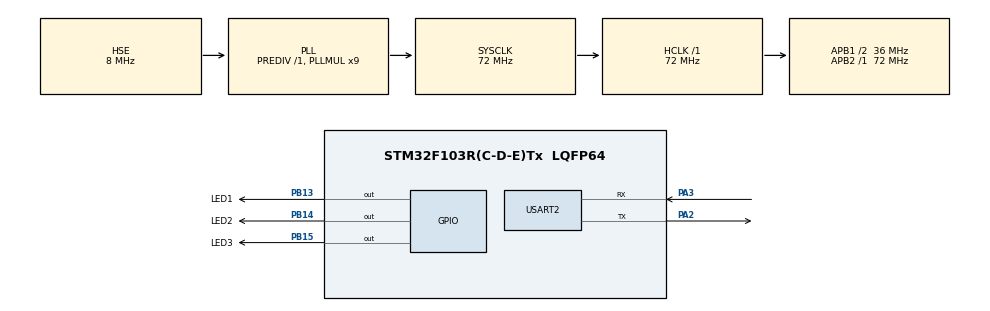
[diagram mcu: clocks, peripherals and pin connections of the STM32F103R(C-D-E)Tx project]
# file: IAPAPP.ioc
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Mcu.Family=STM32F1
Mcu.Name=STM32F103R(C-D-E)Tx
Mcu.Package=LQFP64
NVIC.PriorityGroup=NVIC_PRIORITYGROUP_4
NVIC.TIM2_IRQn=true\:0\:0\:false\:false\:true\:true\:true
NVIC.USART2_IRQn=true\:0\:0\:false\:false\:true\:true\:true
PA13.Mode=Serial_Wire
PA13.Signal=SYS_JTMS-SWDIO
PA14.Mode=Serial_Wire
PA14.Signal=SYS_JTCK-SWCLK
PA2.Mode=Asynchronous
PA2.Signal=USART2_TX
PA3.Mode=Asynchronous
PA3.Signal=USART2_RX
PB13.GPIO_Label=LED1
PB13.GPIO_PuPd=GPIO_PULLUP
PB13.PinState=GPIO_PIN_SET
PB13.Signal=GPIO_Output
PB14.GPIO_Label=LED2
PB14.GPIO_PuPd=GPIO_PULLUP
PB14.PinState=GPIO_PIN_SET
PB14.Signal=GPIO_Output
PB15.GPIO_Label=LED3
PB15.GPIO_PuPd=GPIO_PULLUP
PB15.PinState=GPIO_PIN_SET
PB15.Signal=GPIO_Output
PD0-OSC_IN.Mode=HSE-External-Oscillator
PD0-OSC_IN.Signal=RCC_OSC_IN
PD1-OSC_OUT.Mode=HSE-External-Oscillator
PD1-OSC_OUT.Signal=RCC_OSC_OUT
ProjectManager.HeapSize=0x200
ProjectManager.StackSize=0x400
ProjectManager.TargetToolchain=MDK-ARM V5.27
RCC.AHBFreq_Value=72000000
RCC.APB1CLKDivider=RCC_HCLK_DIV2
RCC.APB1Freq_Value=36000000
RCC.APB1TimFreq_Value=72000000
RCC.APB2Freq_Value=72000000
RCC.APB2TimFreq_Value=72000000
RCC.HCLKFreq_Value=72000000
RCC.PLLMUL=RCC_PLL_MUL9
RCC.PLLSourceVirtual=RCC_PLLSOURCE_HSE
RCC.SYSCLKFreq_VALUE=72000000
RCC.SYSCLKSource=RCC_SYSCLKSOURCE_PLLCLK
RCC.USBFreq_Value=72000000
TIM2.Period=1000 - 1
TIM2.Prescaler=72 - 1
USART2.VirtualMode=VM_ASYNC
VP_TIM2_VS_ClockSourceINT.Mode=Internal
board=custom

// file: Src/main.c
/* USER CODE BEGIN Header */
/**
  ******************************************************************************
  * @file           : main.c
  * @brief          : Main program body
  ******************************************************************************
  * @attention
  *
  * <h2><center>&copy; Copyright (c) 2020 STMicroelectronics.
  * All rights reserved.</center></h2>
  *
  * This software component is licensed by ST under BSD 3-Clause license,
  * the "License"; You may not use this file except in compliance with the
  * License. You may obtain a copy of the License at:
  *                        opensource.org/licenses/BSD-3-Clause
  *
  ******************************************************************************
  */
/* USER CODE END Header */

#include "main.h"
#include "tim.h"
#include "usart.h"
#include "gpio.h"

/* USER CODE BEGIN Includes */

// #include "stm32f10x.h"

/* USER CODE END Includes */

void SystemClock_Config(void);

/* USER CODE BEGIN 0 */

#define IAP_ADDRESS			0x8000000		// 16 KB
#define APP_ADDRESS			0x8004000		// 48 KB

char timer_irq;
uint16_t sCnt = 0;

void tmr_loop(void) {
	if(timer_irq == 0) return;
	timer_irq = 0;

	sCnt++;
	if(sCnt > 999) {
		sCnt = 0;
	}
	if(sCnt == 200) HAL_GPIO_WritePin(LED1_GPIO_Port, LED1_Pin, GPIO_PIN_RESET);
	if(sCnt == 300) HAL_GPIO_WritePin(LED1_GPIO_Port, LED1_Pin, GPIO_PIN_SET);
	if(sCnt == 400) HAL_GPIO_WritePin(LED2_GPIO_Port, LED2_Pin, GPIO_PIN_RESET);
	if(sCnt == 500) HAL_GPIO_WritePin(LED2_GPIO_Port, LED2_Pin, GPIO_PIN_SET);
	if(sCnt == 600) HAL_GPIO_WritePin(LED3_GPIO_Port, LED3_Pin, GPIO_PIN_RESET);
	if(sCnt == 700) HAL_GPIO_WritePin(LED3_GPIO_Port, LED3_Pin, GPIO_PIN_SET);

}

/* USER CODE END 0 */

int main(void)
{
  /* USER CODE BEGIN 1 */

	// NVIC_SetVectorTable(NVIC_VectTab_FLASH, APP_ADDRESS - IAP_ADDRESS);

	timer_irq = 0;

  /* USER CODE END 1 */

  /* MCU Configuration--------------------------------------------------------*/

  /* Reset of all peripherals, Initializes the Flash interface and the Systick. */
  HAL_Init();

  /* Configure the system clock */
  SystemClock_Config();

  /* Initialize all configured peripherals */
  MX_GPIO_Init();
  MX_TIM2_Init();
  MX_USART2_UART_Init();
  /* USER CODE BEGIN 2 */

	uint8_t TxData[22]= "Hi, I'm from APP.\r\n";
	HAL_UART_Transmit(&huart2, TxData, 22, 1000);

	HAL_TIM_Base_Start_IT(&htim2);

  /* USER CODE END 2 */

  /* Infinite loop */
  /* USER CODE BEGIN WHILE */
  while (1)
  {
		tmr_loop();

    /* USER CODE END WHILE */

  }
}

void SystemClock_Config(void)
{
  RCC_OscInitTypeDef RCC_OscInitStruct = {0};
  RCC_ClkInitTypeDef RCC_ClkInitStruct = {0};

  /** Initializes the CPU, AHB and APB busses clocks
  */
  RCC_OscInitStruct.OscillatorType = RCC_OSCILLATORTYPE_HSE;
  RCC_OscInitStruct.HSEState = RCC_HSE_ON;
  RCC_OscInitStruct.HSEPredivValue = RCC_HSE_PREDIV_DIV1;
  RCC_OscInitStruct.HSIState = RCC_HSI_ON;
  RCC_OscInitStruct.PLL.PLLState = RCC_PLL_ON;
  RCC_OscInitStruct.PLL.PLLSource = RCC_PLLSOURCE_HSE;
  RCC_OscInitStruct.PLL.PLLMUL = RCC_PLL_MUL9;
  if (HAL_RCC_OscConfig(&RCC_OscInitStruct) != HAL_OK)
  {
    Error_Handler();
  }
  /** Initializes the CPU, AHB and APB busses clocks
  */
  RCC_ClkInitStruct.ClockType = RCC_CLOCKTYPE_HCLK|RCC_CLOCKTYPE_SYSCLK
                              |RCC_CLOCKTYPE_PCLK1|RCC_CLOCKTYPE_PCLK2;
  RCC_ClkInitStruct.SYSCLKSource = RCC_SYSCLKSOURCE_PLLCLK;
  RCC_ClkInitStruct.AHBCLKDivider = RCC_SYSCLK_DIV1;
  RCC_ClkInitStruct.APB1CLKDivider = RCC_HCLK_DIV2;
  RCC_ClkInitStruct.APB2CLKDivider = RCC_HCLK_DIV1;

  if (HAL_RCC_ClockConfig(&RCC_ClkInitStruct, FLASH_LATENCY_2) != HAL_OK)
  {
    Error_Handler();
  }
}

void Error_Handler(void)
{
}

/************************ (C) COPYRIGHT STMicroelectronics *****END OF FILE****/
